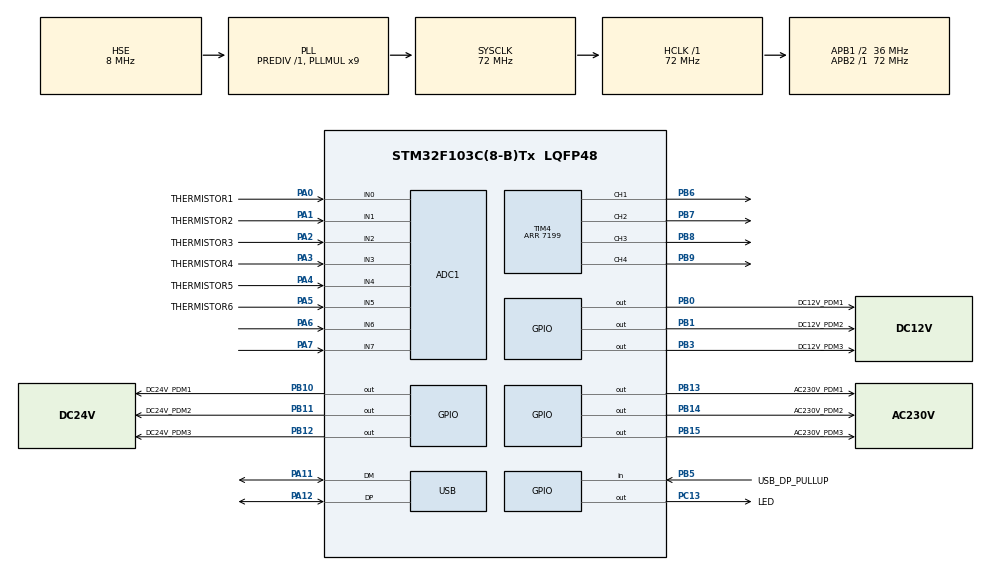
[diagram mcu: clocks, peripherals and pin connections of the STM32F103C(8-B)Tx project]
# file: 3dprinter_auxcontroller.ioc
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ADC1.Channel-12\#ChannelRegularConversion=ADC_CHANNEL_0
ADC1.Channel-13\#ChannelRegularConversion=ADC_CHANNEL_1
ADC1.Channel-14\#ChannelRegularConversion=ADC_CHANNEL_2
ADC1.Channel-15\#ChannelRegularConversion=ADC_CHANNEL_3
ADC1.Channel-16\#ChannelRegularConversion=ADC_CHANNEL_4
ADC1.Channel-17\#ChannelRegularConversion=ADC_CHANNEL_5
ADC1.Channel-18\#ChannelRegularConversion=ADC_CHANNEL_TEMPSENSOR
ADC1.Channel-19\#ChannelRegularConversion=ADC_CHANNEL_VREFINT
ADC1.ContinuousConvMode=ENABLE
ADC1.ExternalTrigConv=ADC_SOFTWARE_START
ADC1.NbrOfConversion=8
ADC1.NbrOfConversionFlag=1
ADC1.Rank-12\#ChannelRegularConversion=1
ADC1.Rank-13\#ChannelRegularConversion=2
ADC1.Rank-14\#ChannelRegularConversion=3
ADC1.Rank-15\#ChannelRegularConversion=4
ADC1.Rank-16\#ChannelRegularConversion=5
ADC1.Rank-17\#ChannelRegularConversion=6
ADC1.Rank-18\#ChannelRegularConversion=7
ADC1.Rank-19\#ChannelRegularConversion=8
ADC1.SamplingTime-12\#ChannelRegularConversion=ADC_SAMPLETIME_7CYCLES_5
ADC1.SamplingTime-13\#ChannelRegularConversion=ADC_SAMPLETIME_7CYCLES_5
ADC1.SamplingTime-14\#ChannelRegularConversion=ADC_SAMPLETIME_7CYCLES_5
ADC1.SamplingTime-15\#ChannelRegularConversion=ADC_SAMPLETIME_7CYCLES_5
ADC1.SamplingTime-16\#ChannelRegularConversion=ADC_SAMPLETIME_7CYCLES_5
ADC1.SamplingTime-17\#ChannelRegularConversion=ADC_SAMPLETIME_7CYCLES_5
ADC1.SamplingTime-18\#ChannelRegularConversion=ADC_SAMPLETIME_7CYCLES_5
ADC1.SamplingTime-19\#ChannelRegularConversion=ADC_SAMPLETIME_7CYCLES_5
ADC1.master=1
Dma.ADC1.0.Direction=DMA_PERIPH_TO_MEMORY
Dma.ADC1.0.Instance=DMA1_Channel1
Dma.ADC1.0.MemDataAlignment=DMA_MDATAALIGN_HALFWORD
Dma.ADC1.0.MemInc=DMA_MINC_ENABLE
Dma.ADC1.0.Mode=DMA_CIRCULAR
Dma.ADC1.0.PeriphDataAlignment=DMA_PDATAALIGN_HALFWORD
Dma.ADC1.0.PeriphInc=DMA_PINC_DISABLE
Dma.ADC1.0.Priority=DMA_PRIORITY_LOW
Dma.Request0=ADC1
Mcu.Family=STM32F1
Mcu.Name=STM32F103C(8-B)Tx
Mcu.Package=LQFP48
NVIC.ADC1_2_IRQn=true\:0\:0\:false\:false\:true
NVIC.DMA1_Channel1_IRQn=true\:0\:0\:false\:false\:true
NVIC.PriorityGroup=NVIC_PRIORITYGROUP_4
NVIC.TIM2_IRQn=true\:0\:0\:false\:false\:true
NVIC.USB_LP_CAN1_RX0_IRQn=true\:0\:0\:false\:false\:true
PA0-WKUP.GPIO_Label=THERMISTOR1
PA0-WKUP.Signal=ADCx_IN0
PA1.GPIO_Label=THERMISTOR2
PA1.Signal=ADCx_IN1
PA11.Mode=Device
PA11.Signal=USB_DM
PA12.Mode=Device
PA12.Signal=USB_DP
PA13.Mode=Serial_Wire
PA13.Signal=SYS_JTMS-SWDIO
PA14.Mode=Serial_Wire
PA14.Signal=SYS_JTCK-SWCLK
PA2.GPIO_Label=THERMISTOR3
PA2.Signal=ADCx_IN2
PA3.GPIO_Label=THERMISTOR4
PA3.Signal=ADCx_IN3
PA4.GPIO_Label=THERMISTOR5
PA4.Signal=ADCx_IN4
PA5.GPIO_Label=THERMISTOR6
PA5.Signal=ADCx_IN5
PA6.Signal=ADCx_IN6
PA7.Signal=ADCx_IN7
PB0.GPIO_Label=DC12V_PDM1
PB0.Signal=GPIO_Output
PB1.GPIO_Label=DC12V_PDM2
PB1.Signal=GPIO_Output
PB10.GPIO_Label=DC24V_PDM1
PB10.Signal=GPIO_Output
PB11.GPIO_Label=DC24V_PDM2
PB11.Signal=GPIO_Output
PB12.GPIO_Label=DC24V_PDM3
PB12.Signal=GPIO_Output
PB13.GPIO_Label=AC230V_PDM1
PB13.Signal=GPIO_Output
PB14.GPIO_Label=AC230V_PDM2
PB14.Signal=GPIO_Output
PB15.GPIO_Label=AC230V_PDM3
PB15.Signal=GPIO_Output
PB3.GPIO_Label=DC12V_PDM3
PB3.Signal=GPIO_Output
PB5.GPIO_Label=USB_DP_PULLUP
PB5.Signal=GPIO_Input
PB6.Signal=S_TIM4_CH1
PB7.Signal=S_TIM4_CH2
PB8.Signal=S_TIM4_CH3
PB9.Signal=S_TIM4_CH4
PC13-TAMPER-RTC.GPIO_Label=LED
PC13-TAMPER-RTC.Signal=GPIO_Output
PC14-OSC32_IN.Mode=LSE-External-Oscillator
PC14-OSC32_IN.Signal=RCC_OSC32_IN
PC15-OSC32_OUT.Mode=LSE-External-Oscillator
PC15-OSC32_OUT.Signal=RCC_OSC32_OUT
PD0-OSC_IN.Mode=HSE-External-Oscillator
PD0-OSC_IN.Signal=RCC_OSC_IN
PD1-OSC_OUT.Mode=HSE-External-Oscillator
PD1-OSC_OUT.Signal=RCC_OSC_OUT
ProjectManager.HeapSize=0x200
ProjectManager.StackSize=0x400
ProjectManager.TargetToolchain=MDK-ARM V5
RCC.ADCPresc=RCC_ADCPCLK2_DIV6
RCC.AHBFreq_Value=72000000
RCC.APB1CLKDivider=RCC_HCLK_DIV2
RCC.APB1Freq_Value=36000000
RCC.APB1TimFreq_Value=72000000
RCC.APB2Freq_Value=72000000
RCC.APB2TimFreq_Value=72000000
RCC.HCLKFreq_Value=72000000
RCC.HSIState=RCC_HSI_ON
RCC.PLLMUL=RCC_PLL_MUL9
RCC.RCC_MCOSource=RCC_MCO1SOURCE_PLLCLK
RCC.RTCClockSelection=RCC_RTCCLKSOURCE_LSE
RCC.SYSCLKFreq_VALUE=72000000
RCC.SYSCLKSource=RCC_SYSCLKSOURCE_PLLCLK
RCC.USBFreq_Value=48000000
RCC.USBPrescaler=RCC_USBCLKSOURCE_PLL_DIV1_5
SH.ADCx_IN0.0=ADC1_IN0,IN0
SH.ADCx_IN1.0=ADC1_IN1,IN1
SH.ADCx_IN2.0=ADC1_IN2,IN2
SH.ADCx_IN3.0=ADC1_IN3,IN3
SH.ADCx_IN4.0=ADC1_IN4,IN4
SH.ADCx_IN5.0=ADC1_IN5,IN5
SH.ADCx_IN6.0=ADC1_IN6,IN6
SH.ADCx_IN7.0=ADC1_IN7,IN7
SH.S_TIM4_CH1.0=TIM4_CH1,PWM Generation1 CH1
SH.S_TIM4_CH2.0=TIM4_CH2,PWM Generation2 CH2
SH.S_TIM4_CH3.0=TIM4_CH3,PWM Generation3 CH3
SH.S_TIM4_CH4.0=TIM4_CH4,PWM Generation4 CH4
TIM2.Period=1440
TIM4.Channel-PWM\ Generation2\ CH2=TIM_CHANNEL_2
TIM4.Channel-PWM\ Generation3\ CH3=TIM_CHANNEL_3
TIM4.Channel-PWM\ Generation4\ CH4=TIM_CHANNEL_4
TIM4.Period=7199
USB_DEVICE.CLASS_NAME_FS=CUSTOMHID
USB_DEVICE.USBD_CUSTOMHID_OUTREPORT_BUF_SIZE=64
USB_DEVICE.USBD_CUSTOM_HID_REPORT_DESC_SIZE=64
USB_DEVICE.USBD_HandleTypeDef=hUsbDeviceFS
USB_DEVICE.VirtualMode=CustomHid
USB_DEVICE.VirtualModeFS=Custom_Hid_FS
VP_ADC1_TempSens_Input.Mode=IN-TempSens
VP_ADC1_Vref_Input.Mode=IN-Vrefint
VP_RTC_No_RTC_Output.Mode=RTC_OUT_NO
VP_RTC_VS_RTC_Activate.Mode=RTC_Enabled
VP_TIM2_VS_ClockSourceINT.Mode=Internal
VP_TIM4_VS_ClockSourceINT.Mode=Internal
VP_USB_DEVICE_VS_USB_DEVICE_CUSTOM_HID_FS.Mode=CUSTOM_HID_FS
board=3dprinter_auxcontroller

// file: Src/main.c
/**
  ******************************************************************************
  * File Name          : main.c
  * Description        : Main program body
  ******************************************************************************
  *
  * Copyright (c) 2017 STMicroelectronics International N.V.
  * All rights reserved.
  *
  * Redistribution and use in source and binary forms, with or without
  * modification, are permitted, provided that the following conditions are met:
  *
  * 1. Redistribution of source code must retain the above copyright notice,
  *    this list of conditions and the following disclaimer.
  * 2. Redistributions in binary form must reproduce the above copyright notice,
  *    this list of conditions and the following disclaimer in the documentation
  *    and/or other materials provided with the distribution.
  * 3. Neither the name of STMicroelectronics nor the names of other
  *    contributors to this software may be used to endorse or promote products
  *    derived from this software without specific written permission.
  * 4. This software, including modifications and/or derivative works of this
  *    software, must execute solely and exclusively on microcontroller or
  *    microprocessor devices manufactured by or for STMicroelectronics.
  * 5. Redistribution and use of this software other than as permitted under
  *    this license is void and will automatically terminate your rights under
  *    this license.
  *
  * THIS SOFTWARE IS PROVIDED BY STMICROELECTRONICS AND CONTRIBUTORS "AS IS"
  * AND ANY EXPRESS, IMPLIED OR STATUTORY WARRANTIES, INCLUDING, BUT NOT
  * LIMITED TO, THE IMPLIED WARRANTIES OF MERCHANTABILITY, FITNESS FOR A
  * PARTICULAR PURPOSE AND NON-INFRINGEMENT OF THIRD PARTY INTELLECTUAL PROPERTY
  * RIGHTS ARE DISCLAIMED TO THE FULLEST EXTENT PERMITTED BY LAW. IN NO EVENT
  * SHALL STMICROELECTRONICS OR CONTRIBUTORS BE LIABLE FOR ANY DIRECT, INDIRECT,
  * INCIDENTAL, SPECIAL, EXEMPLARY, OR CONSEQUENTIAL DAMAGES (INCLUDING, BUT NOT
  * LIMITED TO, PROCUREMENT OF SUBSTITUTE GOODS OR SERVICES; LOSS OF USE, DATA,
  * OR PROFITS; OR BUSINESS INTERRUPTION) HOWEVER CAUSED AND ON ANY THEORY OF
  * LIABILITY, WHETHER IN CONTRACT, STRICT LIABILITY, OR TORT (INCLUDING
  * NEGLIGENCE OR OTHERWISE) ARISING IN ANY WAY OUT OF THE USE OF THIS SOFTWARE,
  * EVEN IF ADVISED OF THE POSSIBILITY OF SUCH DAMAGE.
  *
  ******************************************************************************
  */
#include "stm32f1xx_hal.h"
#include "usb_device.h"
#include "usbd_custom_hid_if.h"
#include "commpackets.h"
#include "housekeeping.h"
#include <math.h>

ADC_HandleTypeDef hadc1;
DMA_HandleTypeDef hdma_adc1;

RTC_HandleTypeDef hrtc;

TIM_HandleTypeDef htim2;
TIM_HandleTypeDef htim4;

/* USER CODE BEGIN PV */
/* Private variables ---------------------------------------------------------*/
extern USBD_HandleTypeDef hUsbDeviceFS;
/* USER CODE END PV */

void SystemClock_Config(void);
void Error_Handler(void);
static void MX_GPIO_Init(void);
static void MX_DMA_Init(void);
static void MX_ADC1_Init(void);
static void MX_RTC_Init(void);
static void MX_TIM4_Init(void);
static void MX_TIM2_Init(void);

void HAL_TIM_MspPostInit(TIM_HandleTypeDef *htim);

/* USER CODE BEGIN PFP */
/* Private function prototypes -----------------------------------------------*/

/* USER CODE END PFP */
volatile uint16_t ADCresults[NR_AVG_POINTS][NR_ADC_CHANNELS], avgctr=0;	/* ADC result buffer, filled in with DMA */
volatile bool bGotUSBData = false, bGotADCResults = false, IsRunning=false;
volatile int32_t CommTimeoutCtr;		/* Communications timeout downcounter */
volatile bool IsInitialised = false;
uint8_t USBTxBuf[65];

// One modulator and one PID per output channel
OutModulator modulator[NROUTCHANNELS];
OutPID PID[NROUTCHANNELS];
// Thermistor housekeeping structures
Thermistor thermistor[NRTHERMISTORS];

// Device to host packet, type 1
// Note that it cannot be larger than 64 bytes.
#pragma pack(push,1)
typedef struct {
	sPkt_ThermistorValue tv[NRTHERMISTORS];
	sPkt_Endofcommand eoc;
} _d2h_pkt1;
#pragma pack(pop)
/* USER CODE END PFP */

/* USER CODE BEGIN 0 */

/* ADC conversion complete. Set flag, and let main() handle the results and start a new conversion */
void HAL_ADC_ConvCpltCallback ( ADC_HandleTypeDef *hadc) {
	static uint8_t ctr=0;
	if (avgctr==(NR_AVG_POINTS-1))
		bGotADCResults = true;
	if (++ctr == 0)
		HAL_GPIO_TogglePin(LED_GPIO_Port, LED_Pin);
}

/* Systick callback. Called at a 1000Hz rate */
void SysTick_callback(void)
{
	float output = 0.0f, err, adcavg;
	static uint8_t pidctr=0, adcconv_ctr=0;
	int j;
	bool bEvalPID;
	uint32_t incr;
	// PID sample time. This routine is called at a 1000Hz rate
	#define PIDSAMPLETIME (0.001f*(float)NROUTCHANNELS)
	#define INVPIDSAMPLETIME (1.0f/(0.001f*(float)NROUTCHANNELS))
	if (!IsInitialised)
		return;
	bEvalPID = false;
	PID[pidctr].feedback = 0.0f;
	// Fetch appropriate feedback value
	// Is it a thermistor?
	if (PID[pidctr].inID >= 0 && PID[pidctr].inID < NRTHERMISTORS) {
		if (thermistor[PID[pidctr].inID].bIsValid) {
			PID[pidctr].feedback = thermistor[PID[pidctr].inID].Temperature;
			bEvalPID = true;
		} else {
			PID[pidctr].feedback = 0.0f;
		}
	}
	// Is it an analog input?
	else if (PID[pidctr].inID >= NRTHERMISTORS && PID[pidctr].inID < (NRTHERMISTORS+NRANALOG)) {
		adcavg = 0.0f;
		for (j=0;j<NR_AVG_POINTS;j++) {
			adcavg += (float)ADCresults[j][PID[pidctr].inID];
		}
		adcavg *= (1.0f/(float)NR_AVG_POINTS);
		PID[pidctr].feedback = adcavg;
		bEvalPID = true;
	}
	// Run with feedback = 0.0f? (testing, controlling the modulator output directly using P=1.0f)
	else if (PID[pidctr].inID < 0) {
		PID[pidctr].feedback = 0.0f;
		bEvalPID = true;
	}
	// Is it enabled?
	if (!PID[pidctr].bEnabled)
		bEvalPID = false;
	// Evaluate one of the PID controllers
	if (bEvalPID) {
		err = PID[pidctr].command - PID[pidctr].feedback;
		output = err * PID[pidctr].Kp + \
				 PID[pidctr].integrator + \
				 (err - PID[pidctr].preverror)*INVPIDSAMPLETIME*PID[pidctr].Kd + \
				 PID[pidctr].command * PID[pidctr].FF0;
		PID[pidctr].preverror = err;
		if (output >= PID[pidctr].maxlim)
			output = PID[pidctr].maxlim;
		else if (output <= PID[pidctr].minlim)
			output = PID[pidctr].minlim;
		else {
			// Only update integrator when output is not at it's limits.
			PID[pidctr].integrator += PID[pidctr].Ki*err*PIDSAMPLETIME;
		}
	}
	// Reverse action?
	if (PID[pidctr].bReverseAction)
		output = PID[pidctr].maxlim - output;
	// Update modulator
	PID[pidctr].output = output;
	incr = (uint32_t)(output * 8388608.0f);
	__disable_irq();
	modulator[pidctr].increment = incr;
	__enable_irq();
	// Update PID instance counter
	if (++pidctr >= NROUTCHANNELS)
		pidctr=0;
	// Start a ADC/DMA cycle
	if ((++adcconv_ctr & 0x07) == 0x07) {
		if (++avgctr >= NR_AVG_POINTS)
			avgctr=0;
		HAL_ADC_Start_DMA(&hadc1, (uint32_t *)&ADCresults[avgctr][0], NR_ADC_CHANNELS);
	}
}

/* Timer callback. This is where we run our pulse engine.
 * Note that for efficiency we might unroll the loops later */
void HAL_TIM_PeriodElapsedCallback (TIM_HandleTypeDef *htim)
{
	static uint16_t lowspeedctr = LOWSPEED_DIV;
	int i;
	if (!IsInitialised)
		return;
	/* Handle running state and comm timeout */
	if (!IsRunning) {
		// Not running -> outputs disabled
		for (i=0;i<NROUTCHANNELS;i++) {
			HAL_GPIO_WritePin(modulator[i].GPIOport, modulator[i].GPIOpin, GPIO_PIN_RESET);
		}
		if (CommTimeoutCtr > 0) {
			IsRunning = true;
		}
		return;
	} else {
		/* We are running. Decrement timeout counter. If this reaches 0, stop running */
		if (CommTimeoutCtr > 0) {
			CommTimeoutCtr--;
		} else {
			IsRunning = false;
			return;
		}
		/* Decrement lowspeed divisor counter. Check for 0 later */
		lowspeedctr--;
HAL_GPIO_TogglePin(LED_GPIO_Port, LED_Pin);
		/* Do modulators. */
#if 1
		for (i=0;i<NROUTCHANNELS;i++) {
			/* modulator needs evaluation? */
			if (modulator[i].Speed == DC_FAST || (modulator[i].Speed == AC_SLOW && !lowspeedctr)) {
				modulator[i].accumulator += modulator[i].increment;
				if (modulator[i].accumulator >= 0x00800000) {
					modulator[i].accumulator -= 0x00800000;
					HAL_GPIO_WritePin(modulator[i].GPIOport, modulator[i].GPIOpin, GPIO_PIN_SET);
					//if (i==3) HAL_GPIO_WritePin (LED_GPIO_Port, LED_Pin, GPIO_PIN_SET);

				} else {
					HAL_GPIO_WritePin(modulator[i].GPIOport, modulator[i].GPIOpin, GPIO_PIN_RESET);
					//if (i==3) HAL_GPIO_WritePin (LED_GPIO_Port, LED_Pin, GPIO_PIN_RESET);
				}
			}
		}
#endif
		/* Wrap lowspeed counter if it reached 0 */
		if (lowspeedctr==0)
			lowspeedctr = LOWSPEED_DIV;
	}

}
/* USER CODE END 0 */

int main(void)
{

  /* USER CODE BEGIN 1 */
	GPIO_InitTypeDef GPIO_InitStruct;
	int i,j;
	float adcavg, logntcres, invT;
//	HAL_StatusTypeDef res;
	// Packet used to return thermistor temps to host
	_d2h_pkt1 d2h_pkt1;
	CommTimeoutCtr = 0;

	// We cannot use the preprocessor for this :(
	if (sizeof (_d2h_pkt1) > 64) {
		while (1);
	}
  /* USER CODE END 1 */

  /* MCU Configuration----------------------------------------------------------*/

  /* Reset of all peripherals, Initializes the Flash interface and the Systick. */
  HAL_Init();

  /* Configure the system clock */
  SystemClock_Config();

  /* Initialize all configured peripherals */
  MX_GPIO_Init();

  MX_DMA_Init();
  MX_ADC1_Init();
  MX_RTC_Init();
  MX_TIM2_Init();
  MX_TIM4_Init();
  MX_USB_DEVICE_Init();

  /* USER CODE BEGIN 2 */
/* USER CODE BEGIN 2 */
	// Reset ADC result buffer
	for (i=0;i<NR_ADC_CHANNELS;i++) {
		for (j=0;j<NR_AVG_POINTS;j++)
			ADCresults[j][i] = 0;
	}
	// Self-calibrate ADC
	while(HAL_ADCEx_Calibration_Start(&hadc1) != HAL_OK);

	// Initialise modulator data structures
	// 12VDC outputs
	modulator[OUTID_DC12V_1].GPIOpin = DC12V_PDM1_Pin; modulator[OUTID_DC12V_1].GPIOport = DC12V_PDM1_GPIO_Port; modulator[OUTID_DC12V_1].Speed = DC_FAST;
	modulator[OUTID_DC12V_1].accumulator = 0; modulator[OUTID_DC12V_1].increment = 0;
	modulator[OUTID_DC12V_2].GPIOpin = DC12V_PDM2_Pin; modulator[OUTID_DC12V_2].GPIOport = DC12V_PDM2_GPIO_Port; modulator[OUTID_DC12V_2].Speed = DC_FAST;
	modulator[OUTID_DC12V_2].accumulator = 0; modulator[OUTID_DC12V_2].increment = 0;
	modulator[OUTID_DC12V_3].GPIOpin = DC12V_PDM3_Pin; modulator[OUTID_DC12V_3].GPIOport = DC12V_PDM3_GPIO_Port; modulator[OUTID_DC12V_3].Speed = DC_FAST;
	modulator[OUTID_DC12V_3].accumulator = 0; modulator[OUTID_DC12V_3].increment = 0;
	// 24VDC outputs
	modulator[OUTID_DC24V_1].GPIOpin = DC24V_PDM1_Pin; modulator[OUTID_DC24V_1].GPIOport = DC24V_PDM1_GPIO_Port; modulator[OUTID_DC24V_1].Speed = DC_FAST;
	modulator[OUTID_DC24V_1].accumulator = 0; modulator[OUTID_DC24V_1].increment = 0;
	modulator[OUTID_DC24V_2].GPIOpin = DC24V_PDM2_Pin; modulator[OUTID_DC24V_2].GPIOport = DC24V_PDM2_GPIO_Port; modulator[OUTID_DC24V_2].Speed = DC_FAST;
	modulator[OUTID_DC24V_2].accumulator = 0; modulator[OUTID_DC24V_2].increment = 0;
	modulator[OUTID_DC24V_3].GPIOpin = DC24V_PDM3_Pin; modulator[OUTID_DC24V_3].GPIOport = DC24V_PDM3_GPIO_Port; modulator[OUTID_DC24V_3].Speed = DC_FAST;
	modulator[OUTID_DC24V_3].accumulator = 0; modulator[OUTID_DC24V_3].increment = 0;
	// 230VAC outputs
	modulator[OUTID_AC230V_1].GPIOpin = AC230V_PDM1_Pin; modulator[OUTID_AC230V_1].GPIOport = AC230V_PDM1_GPIO_Port; modulator[OUTID_AC230V_1].Speed = AC_SLOW;
	modulator[OUTID_AC230V_1].accumulator = 0; modulator[OUTID_AC230V_1].increment = 0;
	modulator[OUTID_AC230V_2].GPIOpin = AC230V_PDM2_Pin; modulator[OUTID_AC230V_2].GPIOport = AC230V_PDM2_GPIO_Port; modulator[OUTID_AC230V_2].Speed = AC_SLOW;
	modulator[OUTID_AC230V_2].accumulator = 0; modulator[OUTID_AC230V_2].increment = 0;
	modulator[OUTID_AC230V_3].GPIOpin = AC230V_PDM3_Pin; modulator[OUTID_AC230V_3].GPIOport = AC230V_PDM3_GPIO_Port; modulator[OUTID_AC230V_3].Speed = AC_SLOW;
	modulator[OUTID_AC230V_3].accumulator = 0; modulator[OUTID_AC230V_3].increment = 0;

	// Initialise PID controllers
	for (i=0;i<NROUTCHANNELS;i++) {
		PID[i].FF0 = 0.0f;
		PID[i].Kp = 0.0f;
		PID[i].Ki = 0.0f;
		PID[i].Kd = 0.0f;
		PID[i].minlim = 0.0f;
		PID[i].maxlim = 1.0f;
		PID[i].command = 0.0f;
		PID[i].inID = -1;
		PID[i].feedback = 0.0f;
		PID[i].integrator = 0.0f;
		PID[i].output = 0.0f;
		PID[i].preverror = 0.0f;
		PID[i].bEnabled = false;
		PID[i].bReverseAction = false;
	}
	// Initialise thermistor data structures
	for (i=0;i<NRTHERMISTORS;i++) {
		thermistor[i].RefResistorValue = 4700.0f;
		// Epcos B57540G0104F000 100K NTC coeffs taken from Smoothieware as default. Should at least prevent bogus outputs
		thermistor[i].SteinhartHart[0] = 0.000722378300319346f;		//ln(R)^0
		thermistor[i].SteinhartHart[1] = 0.000216301852054578f;		//ln(R)^1
		thermistor[i].SteinhartHart[2] = 0.0f;						//ln(R)^2, seldom used
		thermistor[i].SteinhartHart[3] = 9.2641025635702e-08f;		//ln(R)^3
		thermistor[i].Temperature = 0.0f;
		thermistor[i].Resistance = 0.0f;
		thermistor[i].ValidTempMax = 60.0f;			// Room temperature range.
		thermistor[i].ValidTempMin = 5.0f;			// The end application should set more sensible values
		thermistor[i].bIsValid = false;
	}

	// Setup device to host data structure static members
	d2h_pkt1.eoc.id = PKT_ENDOFCOMMAND;
	d2h_pkt1.eoc.len = sizeof(sPkt_Endofcommand);
	for (i=0;i<NRTHERMISTORS;i++) {
		d2h_pkt1.tv[i].ThermistorID = i;
		d2h_pkt1.tv[i].id = PKT_THERMISTOR_VALUE;
		d2h_pkt1.tv[i].len = sizeof(sPkt_ThermistorValue);
	}
	// Reset USB Tx buffer
	memset (USBTxBuf, 0, 64);

  // reset flag
  bGotUSBData = false;

  // Enable USB discovery by pulling DP+ high.
  GPIO_InitStruct.Pin = USB_DP_PULLUP_Pin;
  GPIO_InitStruct.Mode = GPIO_MODE_OUTPUT_PP;
  GPIO_InitStruct.Speed = GPIO_SPEED_FREQ_LOW;
  HAL_GPIO_WritePin(USB_DP_PULLUP_GPIO_Port, USB_DP_PULLUP_Pin, GPIO_PIN_SET);
  HAL_GPIO_Init(USB_DP_PULLUP_GPIO_Port, &GPIO_InitStruct);

  // Start pulsegen timer
  HAL_TIM_Base_Start_IT(&htim2);

  // Start hard PWM. Not used yet.
#if 0
  HAL_TIM_Base_Start(&htim4);
  HAL_TIM_PWM_Start(&htim4,TIM_CHANNEL_1);
  HAL_TIM_PWM_Start(&htim4,TIM_CHANNEL_2);
  HAL_TIM_PWM_Start(&htim4,TIM_CHANNEL_3);
  HAL_TIM_PWM_Start(&htim4,TIM_CHANNEL_4);
#endif
  // Start ADC for the first time
  // (now done in systick) HAL_ADC_Start_DMA(&hadc1, (uint32_t *)&ADCresults[avgctr][0], NR_ADC_CHANNELS);

	/* Indicate that initialisation is done */
	IsInitialised = true;

  /* USER CODE END 2 */

  /* Infinite loop */
  while (1)
  {

  /* USER CODE BEGIN 3 */
	// Did we receive ADC data? If so, calculate NTC temperatures
	  if (bGotADCResults) {
		  for (i=0;i<NRTHERMISTORS;i++) {
			  adcavg = 0.0f;
			  for (j=0;j<NR_AVG_POINTS;j++)
				  adcavg += (float)ADCresults[j][i];
			  adcavg *= (1.0f/(float)NR_AVG_POINTS);
			  if (adcavg > 3.0f && adcavg < 4092.0f) {
				  //ntcres = thermistor[i].RefResistorValue * ((float)(4095-ADCresults[i]) / (float)(ADCresults[i]+1));
				  thermistor[i].Resistance = thermistor[i].RefResistorValue * ((4095.0f / adcavg)-1.0f);
					//thermistor[i].Resistance = adcavg;
				  logntcres = log(thermistor[i].Resistance);
				  invT = thermistor[i].SteinhartHart[0] + logntcres*thermistor[i].SteinhartHart[1] + logntcres*logntcres*thermistor[i].SteinhartHart[2] + logntcres*logntcres*logntcres*thermistor[i].SteinhartHart[3];
				  invT = 1.0f/invT;
				  invT -= 273.15f;
				  if (invT >= thermistor[i].ValidTempMin && invT <= thermistor[i].ValidTempMax) {
					  thermistor[i].bIsValid = true;
					  thermistor[i].Temperature = invT;
				  } else {
					  thermistor[i].bIsValid = false;
					  thermistor[i].Temperature = invT;
				  }
			  } else {
				  // ADC value is bogus.
				  thermistor[i].bIsValid = false;
				  thermistor[i].Temperature = -1234.0f;
			  }
		  }
		  // restart conversion
		  bGotADCResults = false;
	  }
	  // If we received data, we setup a return transfer.
	  if (bGotUSBData) {
		  bGotUSBData = false;
		  for (i=0;i<NRTHERMISTORS;i++) {
			  d2h_pkt1.tv[i].bIsValid = thermistor[i].bIsValid;
			  d2h_pkt1.tv[i].TempCelcius = thermistor[i].Temperature;
				d2h_pkt1.tv[i].Resistance = thermistor[i].Resistance;
		  }
		  memcpy (USBTxBuf, &d2h_pkt1, sizeof (_d2h_pkt1));
		  USBD_CUSTOM_HID_SendReport(&hUsbDeviceFS, USBTxBuf, 64);
	  }
  }
  /* USER CODE END 3 */

}

/** System Clock Configuration
*/
void SystemClock_Config(void)
{

  RCC_OscInitTypeDef RCC_OscInitStruct;
  RCC_ClkInitTypeDef RCC_ClkInitStruct;
  RCC_PeriphCLKInitTypeDef PeriphClkInit;

    /**Initializes the CPU, AHB and APB busses clocks
    */
  RCC_OscInitStruct.OscillatorType = RCC_OSCILLATORTYPE_HSE|RCC_OSCILLATORTYPE_LSE;
  RCC_OscInitStruct.HSEState = RCC_HSE_ON;
  RCC_OscInitStruct.HSEPredivValue = RCC_HSE_PREDIV_DIV1;
  RCC_OscInitStruct.LSEState = RCC_LSE_ON;
  RCC_OscInitStruct.HSIState = RCC_HSI_ON;
  RCC_OscInitStruct.PLL.PLLState = RCC_PLL_ON;
  RCC_OscInitStruct.PLL.PLLSource = RCC_PLLSOURCE_HSE;
  RCC_OscInitStruct.PLL.PLLMUL = RCC_PLL_MUL9;
  if (HAL_RCC_OscConfig(&RCC_OscInitStruct) != HAL_OK)
  {
    Error_Handler();
  }

    /**Initializes the CPU, AHB and APB busses clocks
    */
  RCC_ClkInitStruct.ClockType = RCC_CLOCKTYPE_HCLK|RCC_CLOCKTYPE_SYSCLK
                              |RCC_CLOCKTYPE_PCLK1|RCC_CLOCKTYPE_PCLK2;
  RCC_ClkInitStruct.SYSCLKSource = RCC_SYSCLKSOURCE_PLLCLK;
  RCC_ClkInitStruct.AHBCLKDivider = RCC_SYSCLK_DIV1;
  RCC_ClkInitStruct.APB1CLKDivider = RCC_HCLK_DIV2;
  RCC_ClkInitStruct.APB2CLKDivider = RCC_HCLK_DIV1;

  if (HAL_RCC_ClockConfig(&RCC_ClkInitStruct, FLASH_LATENCY_2) != HAL_OK)
  {
    Error_Handler();
  }

  PeriphClkInit.PeriphClockSelection = RCC_PERIPHCLK_RTC|RCC_PERIPHCLK_ADC
                              |RCC_PERIPHCLK_USB;
  PeriphClkInit.RTCClockSelection = RCC_RTCCLKSOURCE_LSE;
  PeriphClkInit.AdcClockSelection = RCC_ADCPCLK2_DIV6;
  PeriphClkInit.UsbClockSelection = RCC_USBCLKSOURCE_PLL_DIV1_5;
  if (HAL_RCCEx_PeriphCLKConfig(&PeriphClkInit) != HAL_OK)
  {
    Error_Handler();
  }

    /**Configure the Systick interrupt time
    */
  HAL_SYSTICK_Config(HAL_RCC_GetHCLKFreq()/1000);

    /**Configure the Systick
    */
  HAL_SYSTICK_CLKSourceConfig(SYSTICK_CLKSOURCE_HCLK);

  /* SysTick_IRQn interrupt configuration */
  HAL_NVIC_SetPriority(SysTick_IRQn, 0, 0);
}

/* ADC1 init function */
static void MX_ADC1_Init(void)
{

  ADC_ChannelConfTypeDef sConfig;

    /**Common config
    */
  hadc1.Instance = ADC1;
  hadc1.Init.ScanConvMode = ADC_SCAN_ENABLE;
  hadc1.Init.ContinuousConvMode = DISABLE;
  hadc1.Init.DiscontinuousConvMode = DISABLE;
  hadc1.Init.ExternalTrigConv = ADC_SOFTWARE_START;
  hadc1.Init.DataAlign = ADC_DATAALIGN_RIGHT;
  hadc1.Init.NbrOfConversion = 8;
  if (HAL_ADC_Init(&hadc1) != HAL_OK)
  {
    Error_Handler();
  }

    /**Configure Regular Channel
    */
  sConfig.Channel = ADC_CHANNEL_0;
  sConfig.Rank = 1;
  sConfig.SamplingTime = ADC_SAMPLETIME_239CYCLES_5;
  if (HAL_ADC_ConfigChannel(&hadc1, &sConfig) != HAL_OK)
  {
    Error_Handler();
  }

    /**Configure Regular Channel
    */
  sConfig.Channel = ADC_CHANNEL_1;
  sConfig.Rank = 2;
  if (HAL_ADC_ConfigChannel(&hadc1, &sConfig) != HAL_OK)
  {
    Error_Handler();
  }

    /**Configure Regular Channel
    */
  sConfig.Channel = ADC_CHANNEL_2;
  sConfig.Rank = 3;
  if (HAL_ADC_ConfigChannel(&hadc1, &sConfig) != HAL_OK)
  {
    Error_Handler();
  }

    /**Configure Regular Channel
    */
  sConfig.Channel = ADC_CHANNEL_3;
  sConfig.Rank = 4;
  if (HAL_ADC_ConfigChannel(&hadc1, &sConfig) != HAL_OK)
  {
    Error_Handler();
  }

    /**Configure Regular Channel
    */
  sConfig.Channel = ADC_CHANNEL_4;
  sConfig.Rank = 5;
  if (HAL_ADC_ConfigChannel(&hadc1, &sConfig) != HAL_OK)
  {
    Error_Handler();
  }

    /**Configure Regular Channel
    */
  sConfig.Channel = ADC_CHANNEL_5;
  sConfig.Rank = 6;
  if (HAL_ADC_ConfigChannel(&hadc1, &sConfig) != HAL_OK)
  {
    Error_Handler();
  }

    /**Configure Regular Channel
    */
  sConfig.Channel = ADC_CHANNEL_TEMPSENSOR;
  sConfig.Rank = 7;
  if (HAL_ADC_ConfigChannel(&hadc1, &sConfig) != HAL_OK)
  {
    Error_Handler();
  }

    /**Configure Regular Channel
    */
  sConfig.Channel = ADC_CHANNEL_VREFINT;
  sConfig.Rank = 8;
  if (HAL_ADC_ConfigChannel(&hadc1, &sConfig) != HAL_OK)
  {
    Error_Handler();
  }

}

/* RTC init function */
static void MX_RTC_Init(void)
{

  RTC_TimeTypeDef sTime;
  RTC_DateTypeDef DateToUpdate;

    /**Initialize RTC Only
    */
  hrtc.Instance = RTC;
  hrtc.Init.AsynchPrediv = RTC_AUTO_1_SECOND;
  hrtc.Init.OutPut = RTC_OUTPUTSOURCE_NONE;
  if (HAL_RTC_Init(&hrtc) != HAL_OK)
  {
    Error_Handler();
  }

    /**Initialize RTC and set the Time and Date
    */
  sTime.Hours = 0x1;
  sTime.Minutes = 0x0;
  sTime.Seconds = 0x0;

  if (HAL_RTC_SetTime(&hrtc, &sTime, RTC_FORMAT_BCD) != HAL_OK)
  {
    Error_Handler();
  }

  DateToUpdate.WeekDay = RTC_WEEKDAY_MONDAY;
  DateToUpdate.Month = RTC_MONTH_JANUARY;
  DateToUpdate.Date = 0x1;
  DateToUpdate.Year = 0x0;

  if (HAL_RTC_SetDate(&hrtc, &DateToUpdate, RTC_FORMAT_BCD) != HAL_OK)
  {
    Error_Handler();
  }

}

/* TIM2 init function */
static void MX_TIM2_Init(void)
{

  TIM_ClockConfigTypeDef sClockSourceConfig;
  TIM_MasterConfigTypeDef sMasterConfig;

  htim2.Instance = TIM2;
  htim2.Init.Prescaler = 0;
  htim2.Init.CounterMode = TIM_COUNTERMODE_UP;
  htim2.Init.Period = (72000000 / TICKS_PER_SEC) - 1;
  htim2.Init.ClockDivision = TIM_CLOCKDIVISION_DIV1;
  if (HAL_TIM_Base_Init(&htim2) != HAL_OK)
  {
    Error_Handler();
  }

  sClockSourceConfig.ClockSource = TIM_CLOCKSOURCE_INTERNAL;
  if (HAL_TIM_ConfigClockSource(&htim2, &sClockSourceConfig) != HAL_OK)
  {
    Error_Handler();
  }

  sMasterConfig.MasterOutputTrigger = TIM_TRGO_RESET;
  sMasterConfig.MasterSlaveMode = TIM_MASTERSLAVEMODE_DISABLE;
  if (HAL_TIMEx_MasterConfigSynchronization(&htim2, &sMasterConfig) != HAL_OK)
  {
    Error_Handler();
  }

}

/* TIM4 init function */
static void MX_TIM4_Init(void)
{

  TIM_ClockConfigTypeDef sClockSourceConfig;
  TIM_MasterConfigTypeDef sMasterConfig;
  TIM_OC_InitTypeDef sConfigOC;

  htim4.Instance = TIM4;
  htim4.Init.Prescaler = 0;
  htim4.Init.CounterMode = TIM_COUNTERMODE_UP;
  htim4.Init.Period = 7199;
  htim4.Init.ClockDivision = TIM_CLOCKDIVISION_DIV1;
  if (HAL_TIM_Base_Init(&htim4) != HAL_OK)
  {
    Error_Handler();
  }

  sClockSourceConfig.ClockSource = TIM_CLOCKSOURCE_INTERNAL;
  if (HAL_TIM_ConfigClockSource(&htim4, &sClockSourceConfig) != HAL_OK)
  {
    Error_Handler();
  }

  if (HAL_TIM_PWM_Init(&htim4) != HAL_OK)
  {
    Error_Handler();
  }

  sMasterConfig.MasterOutputTrigger = TIM_TRGO_RESET;
  sMasterConfig.MasterSlaveMode = TIM_MASTERSLAVEMODE_DISABLE;
  if (HAL_TIMEx_MasterConfigSynchronization(&htim4, &sMasterConfig) != HAL_OK)
  {
    Error_Handler();
  }

  sConfigOC.OCMode = TIM_OCMODE_PWM1;
  sConfigOC.Pulse = 0;
  sConfigOC.OCPolarity = TIM_OCPOLARITY_HIGH;
  sConfigOC.OCFastMode = TIM_OCFAST_DISABLE;
  if (HAL_TIM_PWM_ConfigChannel(&htim4, &sConfigOC, TIM_CHANNEL_1) != HAL_OK)
  {
    Error_Handler();
  }

  if (HAL_TIM_PWM_ConfigChannel(&htim4, &sConfigOC, TIM_CHANNEL_2) != HAL_OK)
  {
    Error_Handler();
  }

  if (HAL_TIM_PWM_ConfigChannel(&htim4, &sConfigOC, TIM_CHANNEL_3) != HAL_OK)
  {
    Error_Handler();
  }

  if (HAL_TIM_PWM_ConfigChannel(&htim4, &sConfigOC, TIM_CHANNEL_4) != HAL_OK)
  {
    Error_Handler();
  }

  HAL_TIM_MspPostInit(&htim4);

}

static void MX_DMA_Init(void)
{
  /* DMA controller clock enable */
  __HAL_RCC_DMA1_CLK_ENABLE();

  /* DMA interrupt init */
  /* DMA1_Channel1_IRQn interrupt configuration */
  HAL_NVIC_SetPriority(DMA1_Channel1_IRQn, 0, 0);
  HAL_NVIC_EnableIRQ(DMA1_Channel1_IRQn);

}

/** Configure pins as
        * Analog
        * Input
        * Output
        * EVENT_OUT
        * EXTI
*/
static void MX_GPIO_Init(void)
{

  GPIO_InitTypeDef GPIO_InitStruct;

  /* GPIO Ports Clock Enable */
  __HAL_RCC_GPIOC_CLK_ENABLE();
  __HAL_RCC_GPIOD_CLK_ENABLE();
  __HAL_RCC_GPIOA_CLK_ENABLE();
  __HAL_RCC_GPIOB_CLK_ENABLE();

  /*Configure GPIO pin Output Level */
  HAL_GPIO_WritePin(LED_GPIO_Port, LED_Pin, GPIO_PIN_RESET);

  /*Configure GPIO pin Output Level */
  HAL_GPIO_WritePin(GPIOB, DC12V_PDM1_Pin|DC12V_PDM2_Pin|DC12V_PDM3_Pin|DC24V_PDM1_Pin
                          |DC24V_PDM2_Pin|DC24V_PDM3_Pin|AC230V_PDM1_Pin|AC230V_PDM2_Pin
                          |AC230V_PDM3_Pin, GPIO_PIN_RESET);

  /*Configure GPIO pin : LED_Pin */
  GPIO_InitStruct.Pin = LED_Pin;
  GPIO_InitStruct.Mode = GPIO_MODE_OUTPUT_PP;
  GPIO_InitStruct.Speed = GPIO_SPEED_FREQ_LOW;
  HAL_GPIO_Init(LED_GPIO_Port, &GPIO_InitStruct);

  /*Configure GPIO pins : DC12V_PDM1_Pin DC12V_PDM2_Pin DC12V_PDM3_Pin DC24V_PDM1_Pin
                           DC24V_PDM2_Pin DC24V_PDM3_Pin AC230V_PDM1_Pin AC230V_PDM2_Pin
                           AC230V_PDM3_Pin */
  GPIO_InitStruct.Pin = DC12V_PDM1_Pin|DC12V_PDM2_Pin|DC12V_PDM3_Pin|DC24V_PDM1_Pin
                          |DC24V_PDM2_Pin|DC24V_PDM3_Pin|AC230V_PDM1_Pin|AC230V_PDM2_Pin
                          |AC230V_PDM3_Pin;
  GPIO_InitStruct.Mode = GPIO_MODE_OUTPUT_PP;
  GPIO_InitStruct.Speed = GPIO_SPEED_FREQ_LOW;
  HAL_GPIO_Init(GPIOB, &GPIO_InitStruct);

  /*Configure GPIO pin : USB_DP_PULLUP_Pin */
  GPIO_InitStruct.Pin = USB_DP_PULLUP_Pin;
  GPIO_InitStruct.Mode = GPIO_MODE_INPUT;
  GPIO_InitStruct.Pull = GPIO_NOPULL;
  HAL_GPIO_Init(USB_DP_PULLUP_GPIO_Port, &GPIO_InitStruct);

}

void Error_Handler(void)
{
  while(1)
  {
  }
}

/************************ (C) COPYRIGHT STMicroelectronics *****END OF FILE****/
